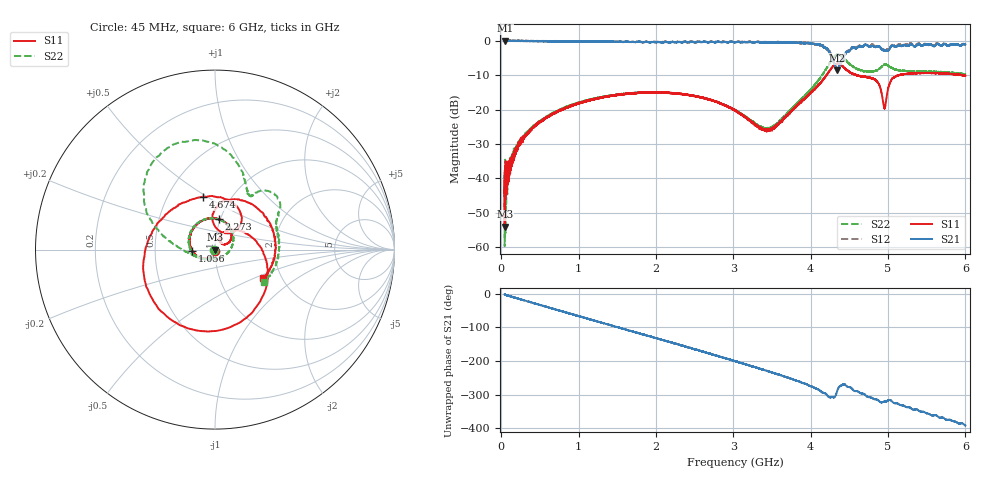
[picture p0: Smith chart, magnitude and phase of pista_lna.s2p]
!Agilent Technologies,E8364A,US41440144,A.06.04.32
!Agilent E8364A: A.06.04.32
!Date: Monday, February 26, 2018 15:02:44
!Correction: S11(Full 2 Port(1,2)) S21(Full 2 Port(1,2)) S12(Full 2 Port(1,2)) S22(Full 2 Port(1,2))
!S2P File: Measurements: S11, S21, S12, S22:
# Hz S  dB  R 50
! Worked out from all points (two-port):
!   16001 points, 45 MHz to 6 GHz, reference 50 ohm
!   highest |S21| = 0.03 dB at 47.23 MHz (marker M1); lowest = -8.6 dB at 4.341 GHz (marker M2)
!   |S21| within 3 dB of the highest: start of sweep to 4.232 GHz; 4.998 GHz to end of sweep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
!   lowest |S11| = -54.1 dB at 45.74 MHz (marker M3), VSWR 1.00, Z = 49.8 - j0.0485 ohm
!   |S11| at or under -10 dB: start of sweep to 4.206 GHz; 4.595 GHz to 5.138 GHz (542.8 MHz wide, 11.2 % of centre); 5.973365 GHz to end of sweep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
!   |S22| runs from -59.7 to -4.0 dB; largest |S21 - S12| = 0.067
!   S11 on the Smith chart (normalised r, x): 45 MHz: 1.01, -0.01; 1.056 GHz: 0.77, -0.01; 2.273 GHz: 0.99, +0.35; 4.674 GHz: 0.74, +0.48; 6 GHz: 1.60, -0.57
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4.5e7  -44.39 -65.1  -0.03 -2.9  0.07 -3.3  -44.32 -163.0
4.574438e7  -54.06 -165.8  -0.09 -3.3  0.07 -3.5  -44.35 -113.4
4.723312e7  -44.01 -105.5  0.03 -3.7  -0.01 -3.4  -39.48 -83.5
1.641e8  -33.88 -102.6  -0.06 -11.3  -0.02 -11.1  -32.86 -104.9
3.375394e8  -27.01 -118.6  -0.09 -22.8  -0.04 -22.8  -26.75 -116.1
1.037624e9  -18.04 -176.3  -0.22 -69.3  -0.20 -69.3  -17.83 -173.8
1.056233e9  -17.84 -177.2  -0.23 -70.5  -0.20 -70.4  -17.70 -175.3
1.531889e9  -15.70 142.7  -0.30 -101.4  -0.26 -101.6  -15.62 146.3
2.030248e9  -14.99 102.1  -0.36 -134.0  -0.37 -134.0  -15.05 105.7
2.272542e9  -15.32 82.3  -0.40 -149.8  -0.33 -149.5  -15.36 86.0
3.0225e9  -20.32 29.3  -0.42 159.4  -0.40 160.0  -20.19 12.3
3.464659e9  -25.81 51.6  -0.42 128.7  -0.38 128.6  -25.61 -86.1
4.015124e9  -14.91 34.6  -0.92 83.9  -0.75 84.2  -13.86 176.2
4.231737e9  -9.14 -34.3  -2.91 53.8  -2.80 58.4  -6.98 149.6
4.340788e9  -6.68 -107.0  -8.57 69.1  -8.12 67.8  -4.08 112.9
4.436068e9  -7.91 -171.5  -4.41 90.8  -4.53 89.2  -5.33 81.3
4.673524e9  -10.45 102.8  -1.66 63.4  -1.75 63.5  -8.75 59.8
4.858129e9  -11.83 57.6  -1.72 45.3  -1.55 44.9  -8.64 55.2
4.95192e9  -19.57 63.7  -2.87 39.4  -2.73 39.9  -6.99 45.3
5.007748e9  -13.36 91.2  -2.79 43.6  -2.49 43.0  -7.31 32.5
5.39594e9  -9.38 25.7  -1.05 12.8  -0.68 10.3  -8.84 9.3
6e9  -10.17 -31.0  -1.10 -31.4  -1.21 -32.0  -9.75 -33.7
